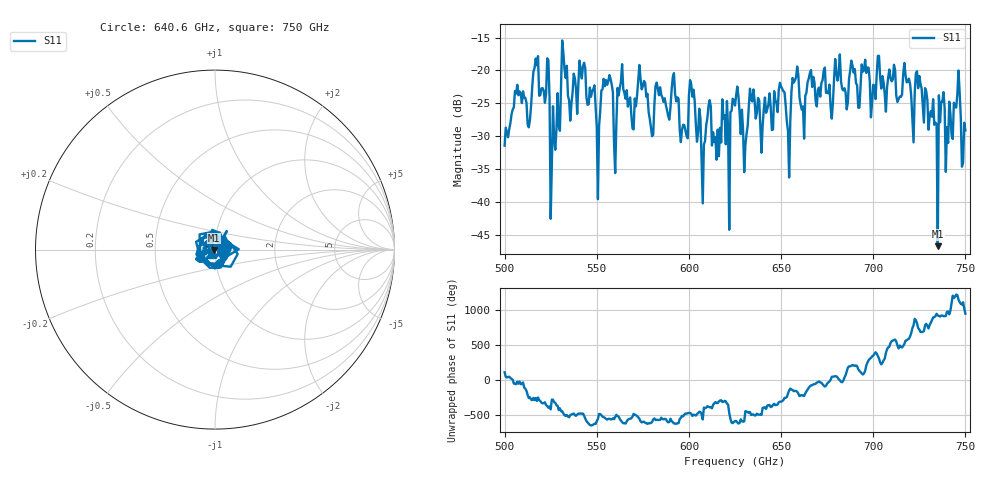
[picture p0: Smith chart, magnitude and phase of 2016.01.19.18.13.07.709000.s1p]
!Created with skrf (http://scikit-rf.org).
# GHz S RI R 50.0
!freq ReS11 ImS11
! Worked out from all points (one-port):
!   401 points, 500 GHz to 750 GHz, reference 50 ohm
!   lowest |S11| = -46.7 dB at 735 GHz (marker M1), VSWR 1.01, Z = 49.6 - j0.218 ohm
!   |S11| at or under -10 dB: start of sweep to end of sweep
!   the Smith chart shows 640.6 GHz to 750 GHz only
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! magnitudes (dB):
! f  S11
! 500 GHz  -31.4
! 506.9 GHz  -22.2
! 513.1 GHz  -28.6
! 516.9 GHz  -18.2
! 523.1 GHz  -18.2
! 526.2 GHz  -25.4
! 531.2 GHz  -15.4
! 542.5 GHz  -19.4
! 550.6 GHz  -39.5
! 553.8 GHz  -21.3
! 560.6 GHz  -28.2
! 562.5 GHz  -22.6
! 593.8 GHz  -24.1
! 601.9 GHz  -24.0
! 608.1 GHz  -31.2
! 610.6 GHz  -25.4
! 620.6 GHz  -24.6
! 625 GHz  -25.3
! 630.6 GHz  -31.4
! 633.8 GHz  -24.4
! 650.6 GHz  -22.8
! 653.8 GHz  -29.2
! 656.2 GHz  -21.1
! 687.5 GHz  -20.0
! 718.8 GHz  -21.8
! 735 GHz  -46.7
! 745.6 GHz  -23.6
! 750 GHz  -29.1
